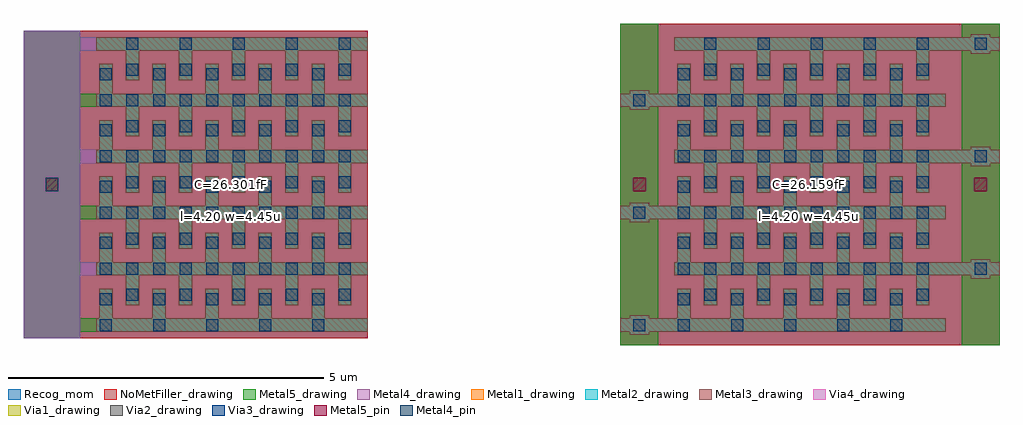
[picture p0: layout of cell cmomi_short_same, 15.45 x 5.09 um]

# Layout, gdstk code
import gdstk
lib = gdstk.Library(unit=1e-6, precision=1e-09)
def R(c, l, rs):  # rectangles x0, y0, x1, y1
    for r in rs: c.add(gdstk.rectangle(r[:2], r[2:], *l))
def A(c, l, x, y, w, h, nx, ny, dx, dy):  # array of equal rectangles
    R(c, l, [(x+i*dx, y+j*dy, x+i*dx+w, y+j*dy+h) for i in range(nx) for j in range(ny)])
Metal1_drawing = (8, 0)
Metal2_drawing = (10, 0)
Via1_drawing = (19, 0)
Via2_drawing = (29, 0)
Metal3_drawing = (30, 0)
Via3_drawing = (49, 0)
Metal4_drawing = (50, 0)
Metal4_pin = (50, 2)
Via4_drawing = (66, 0)
Metal5_drawing = (67, 0)
Metal5_pin = (67, 2)
Recog_mom = (99, 39)
NoMetFiller_drawing = (160, 0)

cmomi_short_same = lib.new_cell('cmomi_short_same')
A(cmomi_short_same, Metal1_drawing, 9.595, -2.38, 0.31, 0.31, 1, 3, 0, 1.78)
A(cmomi_short_same, Metal1_drawing, 1.15, -2.33, 4.3, 0.21, 1, 6, 0, 0.89)
A(cmomi_short_same, Metal1_drawing, 9.45, -2.33, 5.15, 0.21, 1, 3, 0, 1.78)
A(cmomi_short_same, Metal1_drawing, 1.2, -2.225, 0.21, 0.575, 5, 5, 0.84, 0.89)
A(cmomi_short_same, Metal1_drawing, 10.35, -2.225, 0.21, 0.575, 5, 5, 0.84, 0.89)
A(cmomi_short_same, Metal1_drawing, 1.62, -1.91, 0.21, 0.575, 5, 5, 0.84, 0.89)
A(cmomi_short_same, Metal1_drawing, 10.77, -1.91, 0.21, 0.575, 5, 5, 0.84, 0.89)
A(cmomi_short_same, Metal1_drawing, 14.995, -1.49, 0.31, 0.31, 1, 3, 0, 1.78)
A(cmomi_short_same, Metal1_drawing, 10.3, -1.44, 5.15, 0.21, 1, 3, 0, 1.78)
A(cmomi_short_same, Metal2_drawing, 9.595, -2.38, 0.31, 0.31, 1, 3, 0, 1.78)
A(cmomi_short_same, Metal2_drawing, 1.15, -2.33, 4.3, 0.21, 1, 6, 0, 0.89)
A(cmomi_short_same, Metal2_drawing, 9.45, -2.33, 5.15, 0.21, 1, 3, 0, 1.78)
A(cmomi_short_same, Metal2_drawing, 1.2, -2.225, 0.21, 0.575, 5, 5, 0.84, 0.89)
A(cmomi_short_same, Metal2_drawing, 10.35, -2.225, 0.21, 0.575, 5, 5, 0.84, 0.89)
A(cmomi_short_same, Metal2_drawing, 1.62, -1.91, 0.21, 0.575, 5, 5, 0.84, 0.89)
A(cmomi_short_same, Metal2_drawing, 10.77, -1.91, 0.21, 0.575, 5, 5, 0.84, 0.89)
A(cmomi_short_same, Metal2_drawing, 14.995, -1.49, 0.31, 0.31, 1, 3, 0, 1.78)
A(cmomi_short_same, Metal2_drawing, 10.3, -1.44, 5.15, 0.21, 1, 3, 0, 1.78)
A(cmomi_short_same, Via1_drawing, 1.21, -2.32, 0.19, 0.19, 5, 2, 0.84, 0.41)
A(cmomi_short_same, Via1_drawing, 9.655, -2.32, 0.19, 0.19, 1, 3, 0, 1.78)
A(cmomi_short_same, Via1_drawing, 10.36, -2.32, 0.19, 0.19, 5, 2, 0.84, 0.41)
A(cmomi_short_same, Via1_drawing, 1.63, -1.84, 0.19, 0.19, 5, 5, 0.84, 0.89)
A(cmomi_short_same, Via1_drawing, 10.78, -1.84, 0.19, 0.19, 5, 5, 0.84, 0.89)
A(cmomi_short_same, Via1_drawing, 1.21, -1.43, 0.19, 0.19, 10, 4, 0.42, 0.89)
A(cmomi_short_same, Via1_drawing, 10.36, -1.43, 0.19, 0.19, 10, 4, 0.42, 0.89)
A(cmomi_short_same, Via1_drawing, 15.055, -1.43, 0.19, 0.19, 1, 3, 0, 1.78)
A(cmomi_short_same, Via1_drawing, 1.21, -1.02, 0.19, 0.19, 5, 4, 0.84, 0.89)
A(cmomi_short_same, Via1_drawing, 10.36, -1.02, 0.19, 0.19, 5, 4, 0.84, 0.89)
A(cmomi_short_same, Via1_drawing, 1.63, 2.13, 0.19, 0.19, 5, 1, 0.84, 0)
A(cmomi_short_same, Via1_drawing, 10.78, 2.13, 0.19, 0.19, 5, 1, 0.84, 0)
A(cmomi_short_same, Via2_drawing, 1.21, -2.32, 0.19, 0.19, 5, 2, 0.84, 0.41)
A(cmomi_short_same, Via2_drawing, 9.655, -2.32, 0.19, 0.19, 1, 3, 0, 1.78)
A(cmomi_short_same, Via2_drawing, 10.36, -2.32, 0.19, 0.19, 5, 2, 0.84, 0.41)
A(cmomi_short_same, Via2_drawing, 1.63, -1.84, 0.19, 0.19, 5, 5, 0.84, 0.89)
A(cmomi_short_same, Via2_drawing, 10.78, -1.84, 0.19, 0.19, 5, 5, 0.84, 0.89)
A(cmomi_short_same, Via2_drawing, 1.21, -1.43, 0.19, 0.19, 10, 4, 0.42, 0.89)
A(cmomi_short_same, Via2_drawing, 10.36, -1.43, 0.19, 0.19, 10, 4, 0.42, 0.89)
A(cmomi_short_same, Via2_drawing, 15.055, -1.43, 0.19, 0.19, 1, 3, 0, 1.78)
A(cmomi_short_same, Via2_drawing, 1.21, -1.02, 0.19, 0.19, 5, 4, 0.84, 0.89)
A(cmomi_short_same, Via2_drawing, 10.36, -1.02, 0.19, 0.19, 5, 4, 0.84, 0.89)
A(cmomi_short_same, Via2_drawing, 1.63, 2.13, 0.19, 0.19, 5, 1, 0.84, 0)
A(cmomi_short_same, Via2_drawing, 10.78, 2.13, 0.19, 0.19, 5, 1, 0.84, 0)
A(cmomi_short_same, Metal3_drawing, 9.595, -2.38, 0.31, 0.31, 1, 3, 0, 1.78)
A(cmomi_short_same, Metal3_drawing, 1.15, -2.33, 4.3, 0.21, 1, 6, 0, 0.89)
A(cmomi_short_same, Metal3_drawing, 9.45, -2.33, 5.15, 0.21, 1, 3, 0, 1.78)
A(cmomi_short_same, Metal3_drawing, 1.2, -2.225, 0.21, 0.575, 5, 5, 0.84, 0.89)
A(cmomi_short_same, Metal3_drawing, 10.35, -2.225, 0.21, 0.575, 5, 5, 0.84, 0.89)
A(cmomi_short_same, Metal3_drawing, 1.62, -1.91, 0.21, 0.575, 5, 5, 0.84, 0.89)
A(cmomi_short_same, Metal3_drawing, 10.77, -1.91, 0.21, 0.575, 5, 5, 0.84, 0.89)
A(cmomi_short_same, Metal3_drawing, 14.995, -1.49, 0.31, 0.31, 1, 3, 0, 1.78)
A(cmomi_short_same, Metal3_drawing, 10.3, -1.44, 5.15, 0.21, 1, 3, 0, 1.78)
A(cmomi_short_same, Via3_drawing, 1.21, -2.32, 0.19, 0.19, 5, 2, 0.84, 0.41)
A(cmomi_short_same, Via3_drawing, 9.655, -2.32, 0.19, 0.19, 1, 3, 0, 1.78)
A(cmomi_short_same, Via3_drawing, 10.36, -2.32, 0.19, 0.19, 5, 2, 0.84, 0.41)
A(cmomi_short_same, Via3_drawing, 1.63, -1.84, 0.19, 0.19, 5, 5, 0.84, 0.89)
A(cmomi_short_same, Via3_drawing, 10.78, -1.84, 0.19, 0.19, 5, 5, 0.84, 0.89)
A(cmomi_short_same, Via3_drawing, 1.21, -1.43, 0.19, 0.19, 10, 4, 0.42, 0.89)
A(cmomi_short_same, Via3_drawing, 10.36, -1.43, 0.19, 0.19, 10, 4, 0.42, 0.89)
A(cmomi_short_same, Via3_drawing, 15.055, -1.43, 0.19, 0.19, 1, 3, 0, 1.78)
A(cmomi_short_same, Via3_drawing, 1.21, -1.02, 0.19, 0.19, 5, 4, 0.84, 0.89)
A(cmomi_short_same, Via3_drawing, 10.36, -1.02, 0.19, 0.19, 5, 4, 0.84, 0.89)
A(cmomi_short_same, Via3_drawing, 1.63, 2.13, 0.19, 0.19, 5, 1, 0.84, 0)
A(cmomi_short_same, Via3_drawing, 10.78, 2.13, 0.19, 0.19, 5, 1, 0.84, 0)
A(cmomi_short_same, Metal4_drawing, 9.595, -2.38, 0.31, 0.31, 1, 3, 0, 1.78)
A(cmomi_short_same, Metal4_drawing, 1.15, -2.33, 4.3, 0.21, 1, 3, 0, 1.78)
A(cmomi_short_same, Metal4_drawing, 9.45, -2.33, 5.15, 0.21, 1, 3, 0, 1.78)
A(cmomi_short_same, Metal4_drawing, 1.2, -2.225, 0.21, 0.575, 5, 5, 0.84, 0.89)
A(cmomi_short_same, Metal4_drawing, 10.35, -2.225, 0.21, 0.575, 5, 5, 0.84, 0.89)
A(cmomi_short_same, Metal4_drawing, 1.62, -1.91, 0.21, 0.575, 5, 5, 0.84, 0.89)
A(cmomi_short_same, Metal4_drawing, 10.77, -1.91, 0.21, 0.575, 5, 5, 0.84, 0.89)
A(cmomi_short_same, Metal4_drawing, 14.995, -1.49, 0.31, 0.31, 1, 3, 0, 1.78)
A(cmomi_short_same, Metal4_drawing, 0, -1.44, 5.45, 0.21, 1, 3, 0, 1.78)
A(cmomi_short_same, Metal4_drawing, 10.3, -1.44, 5.15, 0.21, 1, 3, 0, 1.78)
R(cmomi_short_same, Metal4_drawing, [(0,-2.435,0.9,2.435)])
R(cmomi_short_same, Metal4_pin, [(0.35,-0.105,0.55,0.105)])
A(cmomi_short_same, Via4_drawing, 1.21, -2.32, 0.19, 0.19, 5, 2, 0.84, 0.41)
A(cmomi_short_same, Via4_drawing, 9.655, -2.32, 0.19, 0.19, 1, 3, 0, 1.78)
A(cmomi_short_same, Via4_drawing, 10.36, -2.32, 0.19, 0.19, 5, 2, 0.84, 0.41)
A(cmomi_short_same, Via4_drawing, 1.63, -1.84, 0.19, 0.19, 5, 5, 0.84, 0.89)
A(cmomi_short_same, Via4_drawing, 10.78, -1.84, 0.19, 0.19, 5, 5, 0.84, 0.89)
A(cmomi_short_same, Via4_drawing, 1.21, -1.43, 0.19, 0.19, 10, 4, 0.42, 0.89)
A(cmomi_short_same, Via4_drawing, 10.36, -1.43, 0.19, 0.19, 10, 4, 0.42, 0.89)
A(cmomi_short_same, Via4_drawing, 15.055, -1.43, 0.19, 0.19, 1, 3, 0, 1.78)
A(cmomi_short_same, Via4_drawing, 1.21, -1.02, 0.19, 0.19, 5, 4, 0.84, 0.89)
A(cmomi_short_same, Via4_drawing, 10.36, -1.02, 0.19, 0.19, 5, 4, 0.84, 0.89)
A(cmomi_short_same, Via4_drawing, 1.63, 2.13, 0.19, 0.19, 5, 1, 0.84, 0)
A(cmomi_short_same, Via4_drawing, 10.78, 2.13, 0.19, 0.19, 5, 1, 0.84, 0)
R(cmomi_short_same, Via4_drawing, [(0.355,-0.1,0.545,0.1)])
A(cmomi_short_same, Metal5_drawing, 0, -2.33, 5.45, 0.21, 1, 3, 0, 1.78)
A(cmomi_short_same, Metal5_drawing, 9.45, -2.33, 5.15, 0.21, 1, 3, 0, 1.78)
A(cmomi_short_same, Metal5_drawing, 1.2, -2.225, 0.21, 0.575, 5, 5, 0.84, 0.89)
A(cmomi_short_same, Metal5_drawing, 10.35, -2.225, 0.21, 0.575, 5, 5, 0.84, 0.89)
A(cmomi_short_same, Metal5_drawing, 1.62, -1.91, 0.21, 0.575, 5, 5, 0.84, 0.89)
A(cmomi_short_same, Metal5_drawing, 10.77, -1.91, 0.21, 0.575, 5, 5, 0.84, 0.89)
A(cmomi_short_same, Metal5_drawing, 1.15, -1.44, 4.3, 0.21, 1, 3, 0, 1.78)
A(cmomi_short_same, Metal5_drawing, 10.3, -1.44, 5.15, 0.21, 1, 3, 0, 1.78)
R(cmomi_short_same, Metal5_drawing, [(9.45,-2.545,10.05,2.545), (14.85,-2.545,15.45,2.545), (0,-2.435,0.9,2.435)])
R(cmomi_short_same, Metal5_pin, [(0.35,-0.105,0.55,0.105), (9.65,-0.105,9.85,0.105), (15.05,-0.105,15.25,0.105)])
R(cmomi_short_same, Recog_mom, [(9.45,-2.545,15.45,2.545), (0,-2.435,5.45,2.435)])
R(cmomi_short_same, NoMetFiller_drawing, [(9.45,-2.545,15.45,2.545), (0,-2.435,5.45,2.435)])
cmomi_short_same.add(gdstk.Label('C=26.301fF', (3.3,0), layer=63, texttype=0))
cmomi_short_same.add(gdstk.Label('cap_cmomi', (3.3,0), layer=63, texttype=0))
cmomi_short_same.add(gdstk.Label('l=4.20 w=4.45u', (3.3,-0.5), layer=63, texttype=0))
cmomi_short_same.add(gdstk.Label('C=26.159fF', (12.45,0), layer=63, texttype=0))
cmomi_short_same.add(gdstk.Label('cap_cmomi', (12.45,0), layer=63, texttype=0))
cmomi_short_same.add(gdstk.Label('l=4.20 w=4.45u', (12.45,-0.5), layer=63, texttype=0))

lib.write_gds('cmomi_short_same.gds')
